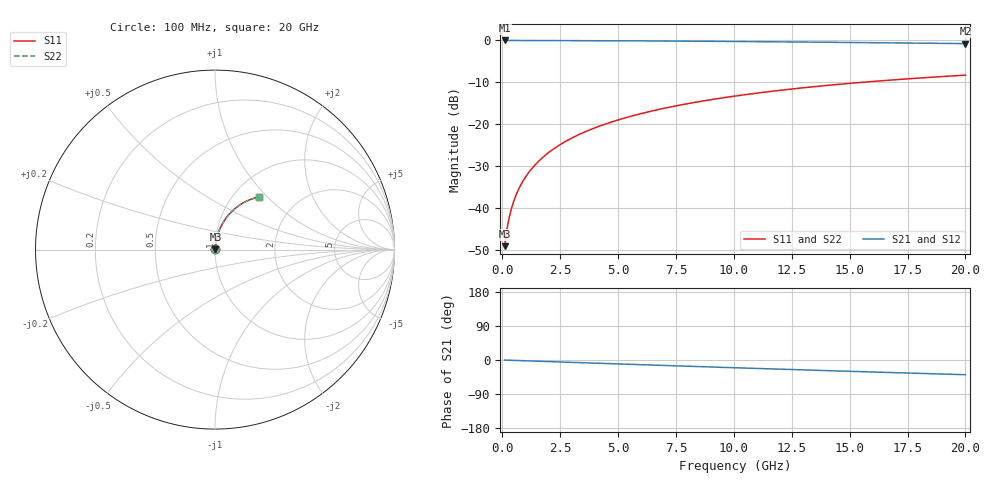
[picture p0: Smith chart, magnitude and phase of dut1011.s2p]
! Touchstone file exported from HFSS 2026.1.0
!  File:  C:/ffzhzh/LocalFiles/Ansys_Project_Files/temp_train_BSMRDL_1011_1783173264_43440.aedt
!  Generated:  09:55:44 PM Jul  4, 2026
!  Design:  BSMRDL
!  Project:  temp_train_BSMRDL_1011_1783173264_43440
! Variables:
!  h_bsmrdl = 3.31um
!  h_ox = 20um
!  h_rdl = 5um
!  h_sub = 80um
!  h_tmrdl = 5um
!  h_tsv = 80um
!  h_via = 3um
!  l_bsmrdl = 527.5um
!  l_sub = 927.5um
!  l_tmrdl = 200um
!  m_sub = 200um
!  pitch = 59.77um
!  r_tsv = 6um
!  s_tmrdl = 10um
!  w_bsmrdl = 25.69um
!  w_sub = 500um
!  w_tmrdl = 12um
!  x_tsv_center1 = 206um
!  x_tsv_center2 = 759.19um
!  x_tsv_center3 = 971.19um
!  x_tsv_center4 = 1524.38um
!  x_tsv_center5 = 1736.38um
!  x_tsv_center6 = 2289.57um
# GHz S MA R 50.000000
! Terminal data exported
! Port[1] = BSM_RDL1_1_T1
! Port[2] = BSM_RDL1_1_T2
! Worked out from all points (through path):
!   200 points, 100 MHz to 20 GHz, reference 50 ohm
!   highest |S21| = -0.02 dB at 100 MHz (marker M1); lowest = -0.8 dB at 20 GHz (marker M2)
!   group delay of S21, straight-line fit = 5.4 ps
!   lowest |S11| = -49.2 dB at 100 MHz (marker M3), VSWR 1.01, Z = 50.2 + j0.247 ohm
!   |S11| at or under -10 dB: start of sweep to 15.6 GHz
!   |S22| runs from -49.2 to -8.3 dB; largest |S21 - S12| = 3.4e-15
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0.1  0.003466 45.1  0.9976 -0.2  0.9976 -0.2  0.003466 45.1
! Gamma 0 0 0 0
! Port Impedance 50 0 50 0
0.2  0.005498 61.8  0.9974 -0.4  0.9974 -0.4  0.005497 61.8
0.3  0.007681 68.8  0.9973 -0.6  0.9973 -0.6  0.007681 68.8
0.4  0.00988 72.7  0.9972 -0.9  0.9972 -0.9  0.00988 72.7
0.5  0.01208 75.1  0.997 -1.1  0.997 -1.1  0.01208 75.1
0.6  0.01429 76.8  0.997 -1.3  0.997 -1.3  0.01429 76.8
0.8  0.01872 78.9  0.9968 -1.7  0.9968 -1.7  0.01872 78.9
1.1  0.02541 80.6  0.9966 -2.3  0.9966 -2.3  0.02541 80.6
1.5  0.03437 81.4  0.9962 -3.2  0.9962 -3.2  0.03437 81.4
1.8  0.0411 81.6  0.9959 -3.8  0.9959 -3.8  0.0411 81.6
2.1  0.04783 81.5  0.9955 -4.4  0.9955 -4.4  0.04783 81.5
2.7  0.06125 81.0  0.9946 -5.6  0.9946 -5.6  0.06125 81.0
3.5  0.07904 79.9  0.993 -7.3  0.993 -7.3  0.07904 79.9
4.2  0.09446 78.8  0.9914 -8.7  0.9914 -8.7  0.09446 78.7
5  0.1119 77.3  0.9893 -10.4  0.9893 -10.4  0.1119 77.3
5.9  0.1312 75.7  0.9865 -12.2  0.9865 -12.2  0.1312 75.7
6.8  0.1503 74.0  0.9834 -14.0  0.9834 -14.0  0.1503 74.0
8.3  0.1812 71.1  0.9776 -17.0  0.9776 -17.0  0.1812 71.1
10.1  0.217 67.7  0.9696 -20.6  0.9696 -20.6  0.217 67.7
13.4  0.2784 61.6  0.9529 -26.9  0.9529 -26.9  0.2784 61.5
16.7  0.3342 55.6  0.9343 -33.0  0.9343 -33.0  0.3342 55.6
20  0.3839 49.9  0.9147 -38.8  0.9147 -38.8  0.3839 49.9
